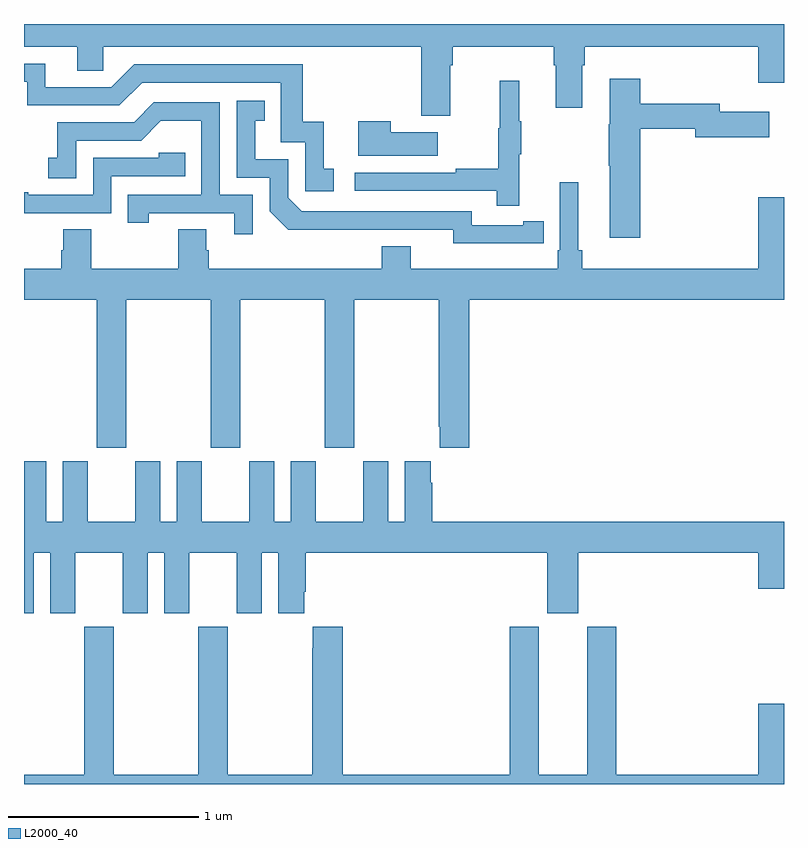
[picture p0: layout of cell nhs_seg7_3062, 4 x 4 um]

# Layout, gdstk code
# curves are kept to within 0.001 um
import gdstk
lib = gdstk.Library(unit=1e-6, precision=1e-09)
def P(c, l, *ps):  # polygons
    for p in ps: c.add(gdstk.Polygon(p, *l))
L2000_40 = (2000, 40)

nhs_seg7_3062 = lib.new_cell('nhs_seg7_3062')
P(nhs_seg7_3062, L2000_40, [(307.243,1069.784),(307.256,1069.784),(307.256,1069.88),(307.787,1069.88),(307.787,1069.784),(307.799,1069.784),(307.799,1069.56),(307.939,1069.56),(307.939,1069.784),(307.952,1069.784),(307.952,1069.88),(308.864,1069.88),(308.864,1069.692),(309,1069.692),(309,1070),(305,1070),(305,1069.88),(305.279,1069.88),(305.279,1069.753),(305.418,1069.753),(305.418,1069.88),(307.091,1069.88),(307.091,1069.518),(307.243,1069.518)],
  [(306.631,1069.239),(306.578,1069.239),(306.578,1069.486),(306.467,1069.486),(306.467,1069.788),(305.58,1069.788),(305.46,1069.668),(305.113,1069.668),(305.113,1069.791),(305,1069.791),(305,1069.695),(305.016,1069.695),(305.016,1069.572),(305.502,1069.572),(305.622,1069.692),(306.351,1069.692),(306.351,1069.377),(306.48,1069.377),(306.48,1069.119),(306.631,1069.119)],
  [(308.243,1069.45),(308.534,1069.45),(308.534,1069.403),(308.923,1069.403),(308.923,1069.537),(308.662,1069.537),(308.662,1069.579),(308.243,1069.579),(308.243,1069.711),(308.084,1069.711),(308.084,1069.473),(308.077,1069.473),(308.077,1069.255),(308.084,1069.255),(308.084,1068.876),(308.243,1068.876)],
  [(307.607,1069.315),(307.618,1069.315),(307.618,1069.489),(307.607,1069.489),(307.607,1069.702),(307.504,1069.702),(307.504,1069.452),(307.497,1069.452),(307.497,1069.238),(307.273,1069.238),(307.273,1069.218),(306.741,1069.218),(306.741,1069.122),(307.489,1069.122),(307.489,1069.044),(307.607,1069.044)],
  [(307.628,1068.846),(307.736,1068.846),(307.736,1068.962),(307.628,1068.962),(307.628,1068.942),(307.356,1068.942),(307.356,1069.014),(306.462,1069.014),(306.39,1069.086),(306.39,1069.287),(306.217,1069.287),(306.217,1069.491),(306.266,1069.491),(306.266,1069.597),(306.12,1069.597),(306.12,1069.191),(306.294,1069.191),(306.294,1069.014),(306.392,1068.917),(307.26,1068.918),(307.26,1068.845)],
  [(306.204,1069.101),(306.03,1069.101),(306.03,1069.587),(305.684,1069.587),(305.579,1069.482),(305.176,1069.482),(305.176,1069.297),(305.127,1069.297),(305.127,1069.188),(305.274,1069.188),(305.274,1069.386),(305.616,1069.386),(305.72,1069.49),(305.934,1069.49),(305.934,1069.101),(305.545,1069.101),(305.545,1068.954),(305.656,1068.954),(305.656,1069.005),(306.107,1069.005),(306.107,1068.894),(306.204,1068.894)],
  [(307.177,1069.429),(306.929,1069.429),(306.929,1069.489),(306.758,1069.489),(306.758,1069.307),(307.177,1069.307)],
  [(305.46,1069.2),(305.849,1069.2),(305.849,1069.323),(305.709,1069.323),(305.709,1069.296),(305.364,1069.296),(305.364,1069.101),(305.023,1069.101),(305.023,1069.114),(305,1069.114),(305,1069.005),(305.46,1069.005)],
  [(305.355,1068.92),(305.207,1068.92),(305.207,1068.81),(305.195,1068.81),(305.195,1068.712),(305,1068.712),(305,1068.548),(305.383,1068.548),(305.383,1067.769),(305.538,1067.769),(305.538,1068.548),(305.983,1068.548),(305.983,1067.769),(306.138,1067.769),(306.138,1068.548),(306.583,1068.548),(306.583,1067.769),(306.738,1067.769),(306.738,1068.548),(307.183,1068.548),(307.183,1067.881),(307.187,1067.881),(307.187,1067.769),(307.343,1067.769),(307.343,1068.548),(309,1068.548),(309,1069.087),(308.864,1069.087),(308.864,1068.712),(307.937,1068.712),(307.937,1068.808),(307.918,1068.808),(307.918,1069.168),(307.821,1069.168),(307.821,1068.808),(307.808,1068.808),(307.808,1068.712),(307.036,1068.712),(307.036,1068.829),(306.884,1068.829),(306.884,1068.712),(305.972,1068.712),(305.972,1068.81),(305.959,1068.81),(305.959,1068.92),(305.812,1068.92),(305.812,1068.712),(305.355,1068.712)],
  [(305.05,1067.216),(305.138,1067.216),(305.138,1066.899),(305.269,1066.899),(305.269,1067.216),(305.519,1067.216),(305.519,1066.899),(305.65,1066.899),(305.65,1067.216),(305.738,1067.216),(305.738,1066.899),(305.869,1066.899),(305.869,1067.216),(306.119,1067.216),(306.119,1066.899),(306.25,1066.899),(306.25,1067.216),(306.338,1067.216),(306.338,1066.899),(306.475,1066.899),(306.475,1067.011),(306.482,1067.011),(306.482,1067.216),(307.754,1067.216),(307.754,1066.899),(307.918,1066.899),(307.918,1067.216),(308.864,1067.216),(308.864,1067.028),(309,1067.028),(309,1067.38),(307.148,1067.38),(307.148,1067.585),(307.141,1067.585),(307.141,1067.698),(307.004,1067.698),(307.004,1067.38),(306.916,1067.38),(306.916,1067.698),(306.785,1067.698),(306.785,1067.38),(306.535,1067.38),(306.535,1067.698),(306.404,1067.698),(306.404,1067.38),(306.316,1067.38),(306.316,1067.698),(306.185,1067.698),(306.185,1067.38),(305.935,1067.38),(305.935,1067.698),(305.804,1067.698),(305.804,1067.38),(305.716,1067.38),(305.716,1067.698),(305.585,1067.698),(305.585,1067.38),(305.335,1067.38),(305.335,1067.698),(305.204,1067.698),(305.204,1067.38),(305.116,1067.38),(305.116,1067.698),(305,1067.698),(305,1066.899),(305.05,1066.899)],
  [(306.677,1066.828),(306.521,1066.828),(306.521,1066.715),(306.517,1066.715),(306.517,1066.048),(306.072,1066.048),(306.072,1066.828),(305.917,1066.828),(305.917,1066.048),(305.472,1066.048),(305.472,1066.828),(305.317,1066.828),(305.317,1066.048),(305,1066.048),(305,1066),(309,1066),(309,1066.423),(308.864,1066.423),(308.864,1066.048),(308.117,1066.048),(308.117,1066.827),(307.964,1066.827),(307.964,1066.048),(307.708,1066.048),(307.708,1066.827),(307.556,1066.827),(307.556,1066.048),(306.677,1066.048)])

lib.write_gds('nhs_seg7_3062.gds')
